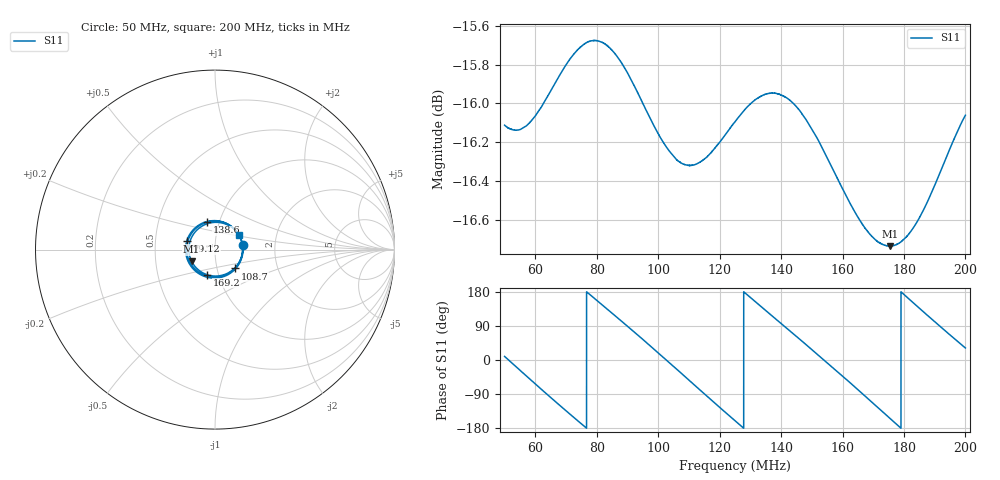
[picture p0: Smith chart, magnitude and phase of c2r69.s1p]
! COPPER MOUNTAIN TECHNOLOGIES, PLANAR TR1300/1, 00071119, 20.2.2/1.0
! Date: 1/7/2024 7:23:13 PM
! Data: Format [Calibration Info]
! Freq  S11: Re/Im F1
# HZ S RI R 50
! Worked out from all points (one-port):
!   12288 points, 50 MHz to 200 MHz, reference 50 ohm
!   lowest |S11| = -16.7 dB at 175.4 MHz (marker M1), VSWR 1.34, Z = 38.2 - j5.09 ohm
!   |S11| at or under -10 dB: start of sweep to end of sweep
!   S11 on the Smith chart (normalised r, x): 50 MHz: 1.36, +0.07; 79.12 MHz: 0.72, +0.07; 108.7 MHz: 1.22, -0.26; 138.6 MHz: 0.88, +0.28; 169.2 MHz: 0.88, -0.25; 200 MHz: 1.29, +0.22
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5e7  0.1544 0.0255
5.496867e7  0.1393 -0.0703
6.048669e7  0.0622 -0.1447
6.457638e7  -0.0165 -0.1586
6.875153e7  -0.0934 -0.1318
7.411085e7  -0.156 -0.0495
7.911614e7  -0.1576 0.047
8.750305e7  -0.0454 0.1561
9.260601e7  0.052 0.1512
9.817287e7  0.1329 0.0829
1.062546e8  0.1378 -0.067
1.08684e8  0.1108 -0.1052
1.165704e8  -0.0279 -0.1512
1.250061e8  -0.1476 -0.0529
1.313299e8  -0.1448 0.0651
1.386058e8  -0.0436 0.1533
1.437576e8  0.0526 0.1496
1.48824e8  0.127 0.0917
1.532433e8  0.1538 0.0139
1.576382e8  0.137 -0.0658
1.625092e8  0.0741 -0.1297
1.691503e8  -0.0455 -0.1394
1.753764e8  -0.1302 -0.0652
1.812607e8  -0.1408 0.041
1.864369e8  -0.0885 0.1197
1.908196e8  -0.014 0.1509
1.950558e8  0.0635 0.1407
2e8  0.1339 0.0828
